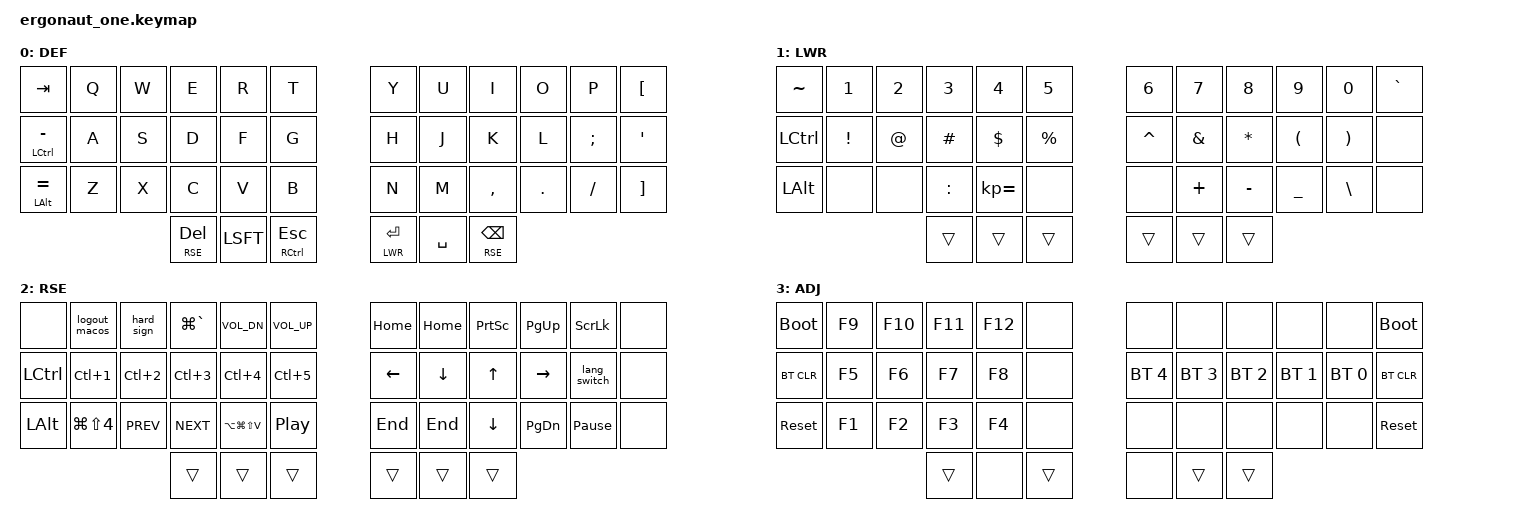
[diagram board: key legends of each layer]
#include <behaviors.dtsi>
#include <dt-bindings/zmk/keys.h>
#include <dt-bindings/zmk/bt.h>

#define DEF 0
#define LWR 1
#define RSE 2
#define ADJ 3

#define D_LT             LC(LG(LEFT))
#define D_RT             LC(LG(RIGHT))
#define TAB_RT           LG(TAB)
#define TAB_LT           LG(LS(TAB))
#define SCREENSHOT       LG(LS(N4))
#define SWITCH_LANG      LG(SPACE)
#define SWITCH_WINDOW    LG(GRAVE)
#define SPOTLIGHT        LA(SPACE)
#define CLOSE_WINDOW_WIN LA(F4)
#define PASTE_WITHOUT_FORMATING LA(LG(LS(V)))

#define D_1 LC(N1)
#define D_2 LC(N2)
#define D_3 LC(N3)
#define D_4 LC(N4)
#define D_5 LC(N5)

#define COMBO(NAME, BINDINGS, KEYPOS) \
  combo_##NAME { \
    timeout-ms = <40>; \
    bindings = <BINDINGS>; \
    key-positions = <KEYPOS>; \
    layers = <DEF>; \
  };

&mt {
    flavor = "hold-preferred";
    tapping-term-ms = <170>;
    quick-tap-ms = <200>;
};

&lt {
    flavor = "hold-preferred";
    tapping-term-ms = <170>;
    quick-tap-ms = <200>;
};

/ {
		macros {
			ZMK_MACRO(lang_switch,
					wait-ms = <20>;
					tap-ms = <20>;
					bindings = <&macro_press &kp LGUI>
					, <&macro_tap &kp SPACE>
					, <&macro_release &kp LGUI>;
      )
			ZMK_MACRO(hard_sign,
					wait-ms = <20>;
					tap-ms = <20>;
					bindings = <&macro_press &kp LALT>
					, <&macro_tap &kp W>
					, <&macro_release &kp LALT>;
      )
			ZMK_MACRO(colon_equal,
					wait-ms = <20>;
					tap-ms = <20>;
					bindings = <&macro_tap &kp COLON>
					, <&macro_tap &kp KP_EQUAL>;
      )
			ZMK_MACRO(logout_macos,
					wait-ms = <20>;
					tap-ms = <20>;
					bindings = <&macro_press &kp LCTRL>
          , <&macro_press &kp LGUI>
					, <&macro_tap &kp Q>
					, <&macro_release &kp LGUI>
					, <&macro_release &kp LCTRL>;
      )
		};
    conditional_layers {
        compatible = "zmk,conditional-layers";
        tri_layer {
            if-layers = <1 2>;
            then-layer = <3>;
        };
    };
    combos {
      compatible = "zmk,combos";

      COMBO(color_equal, &colon_equal, 19 20)
      COMBO(underscore, &kp UNDERSCORE, 20 21)
      COMBO(pipe, &kp PIPE, 15 16)
    };

keymap {
            compatible = "zmk,keymap";

            default_layer {
                    label = "DEF";
                    bindings = <
      &kp TAB           &kp Q     &kp W   &kp E         &kp R    &kp T         &kp Y    &kp U    &kp I         &kp O     &kp P      &kp LBKT
      &mt LCTRL MINUS   &kp A     &kp S   &kp D         &kp F    &kp G         &kp H    &kp J    &kp K         &kp L     &kp SEMI   &kp  SQT
      &mt LALT EQUAL    &kp Z     &kp X   &kp C         &kp V    &kp B         &kp N    &kp M    &kp COMMA     &kp DOT   &kp FSLH   &kp RBKT
                                     &lt RSE DEL  &kp LSFT   &mt RCTRL  ESC         &lt LWR ENTER  &kp SPACE &lt RSE BSPC
                    >;
            };
            lower_layer {
                    label = "LWR";
                    bindings = <
      &kp TILDE  &kp N1     &kp N2     &kp N3      &kp N4        &kp N5      &kp N6      &kp N7          &kp N8      &kp N9          &kp N0     &kp GRAVE
      &kp LCTRL  &kp EXCL   &kp AT     &kp HASH    &kp DLLR      &kp PRCNT   &kp CARET   &kp AMPS        &kp STAR    &kp LPAR        &kp RPAR   &none
      &kp LALT   &none      &none      &kp COLON   &kp KP_EQUAL  &none       &none       &kp PLUS        &kp MINUS   &kp UNDERSCORE  &kp BSLH   &none
                                          &trans   &trans     &trans      &trans      &trans     &trans
                    >;
            };
            raise_layer {
                    label = "RSE";
                    bindings = <
      &none       &logout_macos   &hard_sign    &kp SWITCH_WINDOW   &kp C_VOL_DN                   &kp C_VOL_UP   &kp HOME   &kp HOME       &kp PSCRN   &kp PG_UP   &kp SLCK          &none
      &kp LCTRL   &kp D_1         &kp D_2       &kp D_3             &kp D_4                        &kp D_5        &kp LEFT   &kp DOWN       &kp UP      &kp RIGHT   &lang_switch      &none
      &kp LALT    &kp SCREENSHOT  &kp C_PREV    &kp C_NEXT          &kp PASTE_WITHOUT_FORMATING    &kp C_PP       &kp END    &kp END        &kp DOWN    &kp PG_DN   &kp PAUSE_BREAK   &none
                                               &trans      &trans      &trans    &trans    &trans     &trans
                    >;
            };
            adjust_layer {
                    label = "ADJ";
                    bindings = <
      &bootloader   &kp F9         &kp F10        &kp F11        &kp F12        &none          &none          &none          &none          &none          &none          &bootloader
      &bt BT_CLR    &kp F5         &kp F6         &kp F7         &kp F8         &none          &bt BT_SEL 4   &bt BT_SEL 3   &bt BT_SEL 2   &bt BT_SEL 1   &bt BT_SEL 0   &bt BT_CLR
      &sys_reset    &kp F1         &kp F2         &kp F3         &kp F4         &none          &none          &none          &none          &none          &none          &sys_reset
                                                  &trans         &none          &trans         &none          &trans         &trans
                    >;
            };
        };
};
